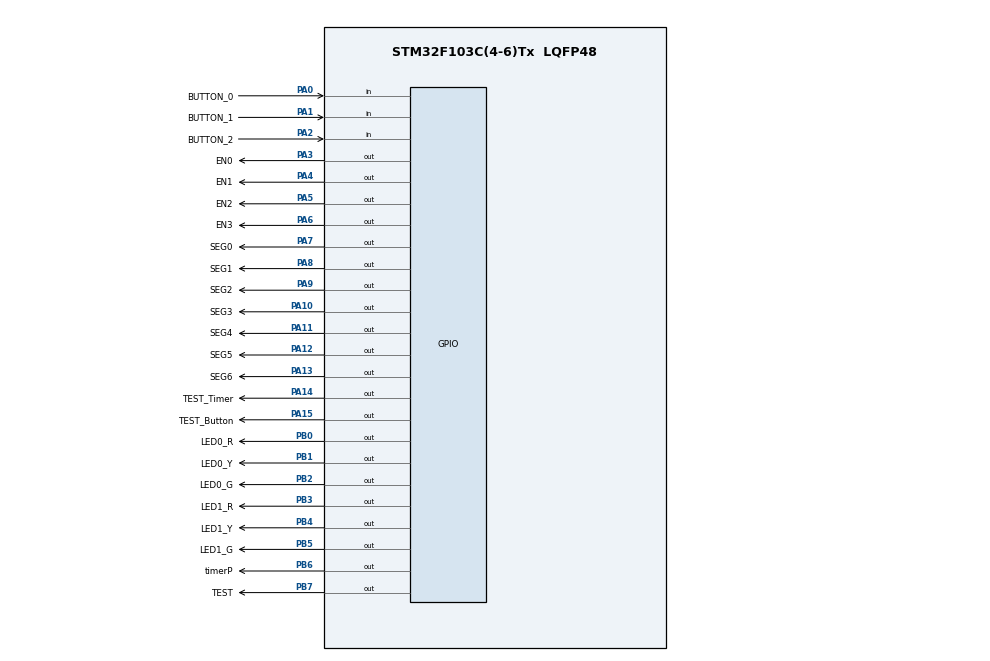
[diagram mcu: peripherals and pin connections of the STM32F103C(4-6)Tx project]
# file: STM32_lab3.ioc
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Mcu.Family=STM32F1
Mcu.Name=STM32F103C(4-6)Tx
Mcu.Package=LQFP48
NVIC.PriorityGroup=NVIC_PRIORITYGROUP_4
NVIC.TIM2_IRQn=true\:0\:0\:false\:false\:true\:true\:true
PA0-WKUP.GPIO_Label=BUTTON_0
PA0-WKUP.GPIO_PuPd=GPIO_PULLUP
PA0-WKUP.Signal=GPIO_Input
PA1.GPIO_Label=BUTTON_1
PA1.GPIO_PuPd=GPIO_PULLUP
PA1.Signal=GPIO_Input
PA10.GPIO_Label=SEG3
PA10.Signal=GPIO_Output
PA11.GPIO_Label=SEG4
PA11.Signal=GPIO_Output
PA12.GPIO_Label=SEG5
PA12.Signal=GPIO_Output
PA13.GPIO_Label=SEG6
PA13.Signal=GPIO_Output
PA14.GPIO_Label=TEST_Timer
PA14.Signal=GPIO_Output
PA15.GPIO_Label=TEST_Button
PA15.Signal=GPIO_Output
PA2.GPIO_Label=BUTTON_2
PA2.GPIO_PuPd=GPIO_PULLUP
PA2.Signal=GPIO_Input
PA3.GPIO_Label=EN0
PA3.Signal=GPIO_Output
PA4.GPIO_Label=EN1
PA4.Signal=GPIO_Output
PA5.GPIO_Label=EN2
PA5.Signal=GPIO_Output
PA6.GPIO_Label=EN3
PA6.Signal=GPIO_Output
PA7.GPIO_Label=SEG0
PA7.Signal=GPIO_Output
PA8.GPIO_Label=SEG1
PA8.Signal=GPIO_Output
PA9.GPIO_Label=SEG2
PA9.Signal=GPIO_Output
PB0.GPIO_Label=LED0_R
PB0.Signal=GPIO_Output
PB1.GPIO_Label=LED0_Y
PB1.Signal=GPIO_Output
PB2.GPIO_Label=LED0_G
PB2.Signal=GPIO_Output
PB3.GPIO_Label=LED1_R
PB3.Signal=GPIO_Output
PB4.GPIO_Label=LED1_Y
PB4.Signal=GPIO_Output
PB5.GPIO_Label=LED1_G
PB5.Signal=GPIO_Output
PB6.GPIO_Label=timerP
PB6.Signal=GPIO_Output
PB7.GPIO_Label=TEST
PB7.Signal=GPIO_Output
ProjectManager.HeapSize=0x200
ProjectManager.StackSize=0x400
ProjectManager.TargetToolchain=STM32CubeIDE
RCC.APB1CLKDivider=RCC_HCLK_DIV2
RCC.APB1Freq_Value=4000000
RCC.APB1TimFreq_Value=8000000
RCC.APB2CLKDivider=RCC_HCLK_DIV2
RCC.APB2Freq_Value=4000000
RCC.APB2TimFreq_Value=8000000
TIM2.Period=9
TIM2.Prescaler=7999
VP_SYS_VS_ND.Mode=No_Debug
VP_TIM2_VS_ClockSourceINT.Mode=Internal
board=custom

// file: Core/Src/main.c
/* USER CODE BEGIN Header */
/**
  ******************************************************************************
  * @file           : main.c
  * @brief          : Main program body
  ******************************************************************************
  * @attention
  *
  * <h2><center>&copy; Copyright (c) 2024 STMicroelectronics.
  * All rights reserved.</center></h2>
  *
  * This software component is licensed by ST under BSD 3-Clause license,
  * the "License"; You may not use this file except in compliance with the
  * License. You may obtain a copy of the License at:
  *                        opensource.org/licenses/BSD-3-Clause
  *
  ******************************************************************************
  */
/* USER CODE END Header */
#include "main.h"

/* USER CODE BEGIN Includes */
#include "software_timer.h"
#include "input_processing.h"
#include "fsm_run.h"
#include "traffic_light.h"
#include "input_reading.h"
#include "global.h"
/* USER CODE END Includes */

TIM_HandleTypeDef htim2;

void SystemClock_Config(void);
static void MX_GPIO_Init(void);
static void MX_TIM2_Init(void);

int main(void)
{

  /* MCU Configuration--------------------------------------------------------*/

  /* Reset of all peripherals, Initializes the Flash interface and the Systick. */
  HAL_Init();

  /* Configure the system clock */
  SystemClock_Config();

  /* Initialize all configured peripherals */
  MX_GPIO_Init();
  MX_TIM2_Init();
  /* USER CODE BEGIN 2 */
  HAL_TIM_Base_Start_IT(&htim2);
#ifdef P_CLOCK
  p_clockSet(1000);
#endif
  /* USER CODE END 2 */

  /* Infinite loop */
  /* USER CODE BEGIN WHILE */
  HAL_GPIO_WritePin(timerP_GPIO_Port, timerP_Pin, SET);
  HAL_GPIO_WritePin(TEST_Timer_GPIO_Port, TEST_Timer_Pin, SET);
  HAL_GPIO_WritePin(TEST_GPIO_Port, TEST_Pin, SET);
  set_timer(1000, &timer_flag[0]);
  set_timer(1000, &timer_flag[1]);
  set_timer(1000, &timer_flag[2]);
  set_timer(1000, &timer_flag[3]);
  set_timer(1000, &timer_flag[4]);
  set_timer(1000, &timer_flag[5]);

  while (1)
  {
    /* USER CODE END WHILE */

    /* USER CODE BEGIN 3 */
	  // UNIT TEST
#ifdef P_CLOCK
	  if(p_flag == 1){
		  HAL_GPIO_TogglePin(timerP_GPIO_Port, timerP_Pin);
		  p_clockSet(1000);
	  }
#endif
	  unit_test_software_timer();
//	  unit_test_7seg();
	  unit_test_button_press();
//	  unit_test_button_read();

	  // FSM
	  fsm_run(m_mode);
  }
  /* USER CODE END 3 */
}

void SystemClock_Config(void)
{
  RCC_OscInitTypeDef RCC_OscInitStruct = {0};
  RCC_ClkInitTypeDef RCC_ClkInitStruct = {0};

  /** Initializes the RCC Oscillators according to the specified parameters
  * in the RCC_OscInitTypeDef structure.
  */
  RCC_OscInitStruct.OscillatorType = RCC_OSCILLATORTYPE_HSI;
  RCC_OscInitStruct.HSIState = RCC_HSI_ON;
  RCC_OscInitStruct.HSICalibrationValue = RCC_HSICALIBRATION_DEFAULT;
  RCC_OscInitStruct.PLL.PLLState = RCC_PLL_NONE;
  if (HAL_RCC_OscConfig(&RCC_OscInitStruct) != HAL_OK)
  {
    Error_Handler();
  }
  /** Initializes the CPU, AHB and APB buses clocks
  */
  RCC_ClkInitStruct.ClockType = RCC_CLOCKTYPE_HCLK|RCC_CLOCKTYPE_SYSCLK
                              |RCC_CLOCKTYPE_PCLK1|RCC_CLOCKTYPE_PCLK2;
  RCC_ClkInitStruct.SYSCLKSource = RCC_SYSCLKSOURCE_HSI;
  RCC_ClkInitStruct.AHBCLKDivider = RCC_SYSCLK_DIV1;
  RCC_ClkInitStruct.APB1CLKDivider = RCC_HCLK_DIV2;
  RCC_ClkInitStruct.APB2CLKDivider = RCC_HCLK_DIV2;

  if (HAL_RCC_ClockConfig(&RCC_ClkInitStruct, FLASH_LATENCY_0) != HAL_OK)
  {
    Error_Handler();
  }
}

static void MX_TIM2_Init(void)
{

  TIM_ClockConfigTypeDef sClockSourceConfig = {0};
  TIM_MasterConfigTypeDef sMasterConfig = {0};

  htim2.Instance = TIM2;
  htim2.Init.Prescaler = 7999;
  htim2.Init.CounterMode = TIM_COUNTERMODE_UP;
  htim2.Init.Period = 9;
  htim2.Init.ClockDivision = TIM_CLOCKDIVISION_DIV1;
  htim2.Init.AutoReloadPreload = TIM_AUTORELOAD_PRELOAD_DISABLE;
  if (HAL_TIM_Base_Init(&htim2) != HAL_OK)
  {
    Error_Handler();
  }
  sClockSourceConfig.ClockSource = TIM_CLOCKSOURCE_INTERNAL;
  if (HAL_TIM_ConfigClockSource(&htim2, &sClockSourceConfig) != HAL_OK)
  {
    Error_Handler();
  }
  sMasterConfig.MasterOutputTrigger = TIM_TRGO_RESET;
  sMasterConfig.MasterSlaveMode = TIM_MASTERSLAVEMODE_DISABLE;
  if (HAL_TIMEx_MasterConfigSynchronization(&htim2, &sMasterConfig) != HAL_OK)
  {
    Error_Handler();
  }

}

static void MX_GPIO_Init(void)
{
  GPIO_InitTypeDef GPIO_InitStruct = {0};

  /* GPIO Ports Clock Enable */
  __HAL_RCC_GPIOA_CLK_ENABLE();
  __HAL_RCC_GPIOB_CLK_ENABLE();

  /*Configure GPIO pin Output Level */
  HAL_GPIO_WritePin(GPIOA, EN0_Pin|EN1_Pin|EN2_Pin|EN3_Pin
                          |SEG0_Pin|SEG1_Pin|SEG2_Pin|SEG3_Pin
                          |SEG4_Pin|SEG5_Pin|SEG6_Pin|TEST_Timer_Pin
                          |TEST_Button_Pin, GPIO_PIN_RESET);

  /*Configure GPIO pin Output Level */
  HAL_GPIO_WritePin(GPIOB, LED0_R_Pin|LED0_Y_Pin|LED0_G_Pin|LED1_R_Pin
                          |LED1_Y_Pin|LED1_G_Pin|timerP_Pin|TEST_Pin, GPIO_PIN_RESET);

  /*Configure GPIO pins : BUTTON_0_Pin BUTTON_1_Pin BUTTON_2_Pin */
  GPIO_InitStruct.Pin = BUTTON_0_Pin|BUTTON_1_Pin|BUTTON_2_Pin;
  GPIO_InitStruct.Mode = GPIO_MODE_INPUT;
  GPIO_InitStruct.Pull = GPIO_PULLUP;
  HAL_GPIO_Init(GPIOA, &GPIO_InitStruct);

  /*Configure GPIO pins : EN0_Pin EN1_Pin EN2_Pin EN3_Pin
                           SEG0_Pin SEG1_Pin SEG2_Pin SEG3_Pin
                           SEG4_Pin SEG5_Pin SEG6_Pin TEST_Timer_Pin
                           TEST_Button_Pin */
  GPIO_InitStruct.Pin = EN0_Pin|EN1_Pin|EN2_Pin|EN3_Pin
                          |SEG0_Pin|SEG1_Pin|SEG2_Pin|SEG3_Pin
                          |SEG4_Pin|SEG5_Pin|SEG6_Pin|TEST_Timer_Pin
                          |TEST_Button_Pin;
  GPIO_InitStruct.Mode = GPIO_MODE_OUTPUT_PP;
  GPIO_InitStruct.Pull = GPIO_NOPULL;
  GPIO_InitStruct.Speed = GPIO_SPEED_FREQ_LOW;
  HAL_GPIO_Init(GPIOA, &GPIO_InitStruct);

  /*Configure GPIO pins : LED0_R_Pin LED0_Y_Pin LED0_G_Pin LED1_R_Pin
                           LED1_Y_Pin LED1_G_Pin timerP_Pin TEST_Pin */
  GPIO_InitStruct.Pin = LED0_R_Pin|LED0_Y_Pin|LED0_G_Pin|LED1_R_Pin
                          |LED1_Y_Pin|LED1_G_Pin|timerP_Pin|TEST_Pin;
  GPIO_InitStruct.Mode = GPIO_MODE_OUTPUT_PP;
  GPIO_InitStruct.Pull = GPIO_NOPULL;
  GPIO_InitStruct.Speed = GPIO_SPEED_FREQ_LOW;
  HAL_GPIO_Init(GPIOB, &GPIO_InitStruct);

}

void Error_Handler(void)
{
  __disable_irq();
  while (1)
  {
  }
}

/************************ (C) COPYRIGHT STMicroelectronics *****END OF FILE****/
